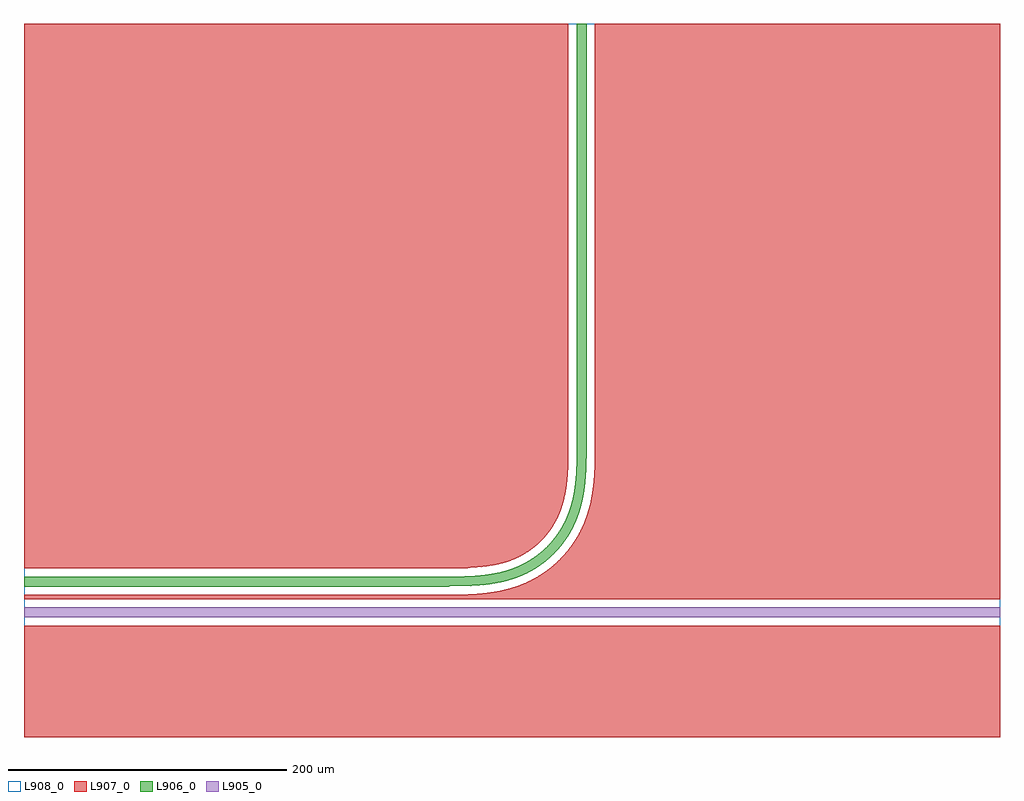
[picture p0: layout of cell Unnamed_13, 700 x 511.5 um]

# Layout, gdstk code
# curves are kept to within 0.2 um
import gdstk
lib = gdstk.Library(unit=1e-6, precision=1e-09)
def R(c, l, rs):  # rectangles x0, y0, x1, y1
    for r in rs: c.add(gdstk.rectangle(r[:2], r[2:], *l))
def P(c, l, *ps):  # polygons
    for p in ps: c.add(gdstk.Polygon(p, *l))
L905_0 = (905, 0)
L906_0 = (906, 0)
L907_0 = (907, 0)
L908_0 = (908, 0)

unnamed_13 = lib.new_cell('Unnamed_13')
R(unnamed_13, L905_0, [(-300,-14.5,400,-7.5)])
P(unnamed_13, L906_0, [(-300,7.5),(-300,14.5),(3.859,14.502),(23.725,15.078),(31.74,15.896),(39.368,17.194),(46.441,18.988),(52.681,21.173),(58.687,23.946),(64.499,27.368),(69.839,31.276),(74.769,35.691),(79.158,40.472),(83.279,45.971),(86.816,51.863),(89.635,57.849),(91.938,64.315),(93.753,71.381),(95.034,78.747),(95.922,87.275),(96.498,107.141),(96.5,411),(103.5,411),(103.499,107.796),(103.049,88.932),(102.233,79.828),(100.851,71.14),(98.99,63.474),(96.526,56.22),(93.322,49.194),(89.632,42.886),(85.339,36.972),(80.188,31.21),(74.464,26.015),(68.349,21.522),(61.931,17.743),(55.04,14.577),(47.526,12.01),(39.86,10.149),(31.172,8.767),(22.068,7.951),(3.204,7.501)])
R(unnamed_13, L907_0, [(-300,-100.5,400,-20.5)])
P(unnamed_13, L907_0, [(-300,20.5),(-300,411),(90.5,411),(90.499,107.813),(90.146,90.988),(89.471,82.626),(88.398,75.234),(86.788,68.106),(84.768,61.858),(82.264,56.126),(79.063,50.482),(75.208,45.119),(70.879,40.285),(66.241,36.084),(61.005,32.252),(55.288,28.944),(49.467,26.356),(43.236,24.306),(36.361,22.712),(28.374,21.529),(20.012,20.854),(3.187,20.501)],
  [(-300,-1.5),(-300,1.5),(2.272,1.5),(19.221,1.792),(33.747,3.049),(46.334,5.469),(52.18,7.165),(57.823,9.23),(63.222,11.667),(68.297,14.42),(76.474,19.952),(84.232,26.768),(90.582,33.926),(96.347,42.311),(100.819,50.942),(104.33,60.384),(106.875,70.679),(108.491,81.801),(109.25,92.753),(109.496,106.308),(109.5,411),(400,411),(400,-1.5)])
R(unnamed_13, L908_0, [(-300,-100.5,400,411)])

lib.write_gds('Unnamed_13.gds')
